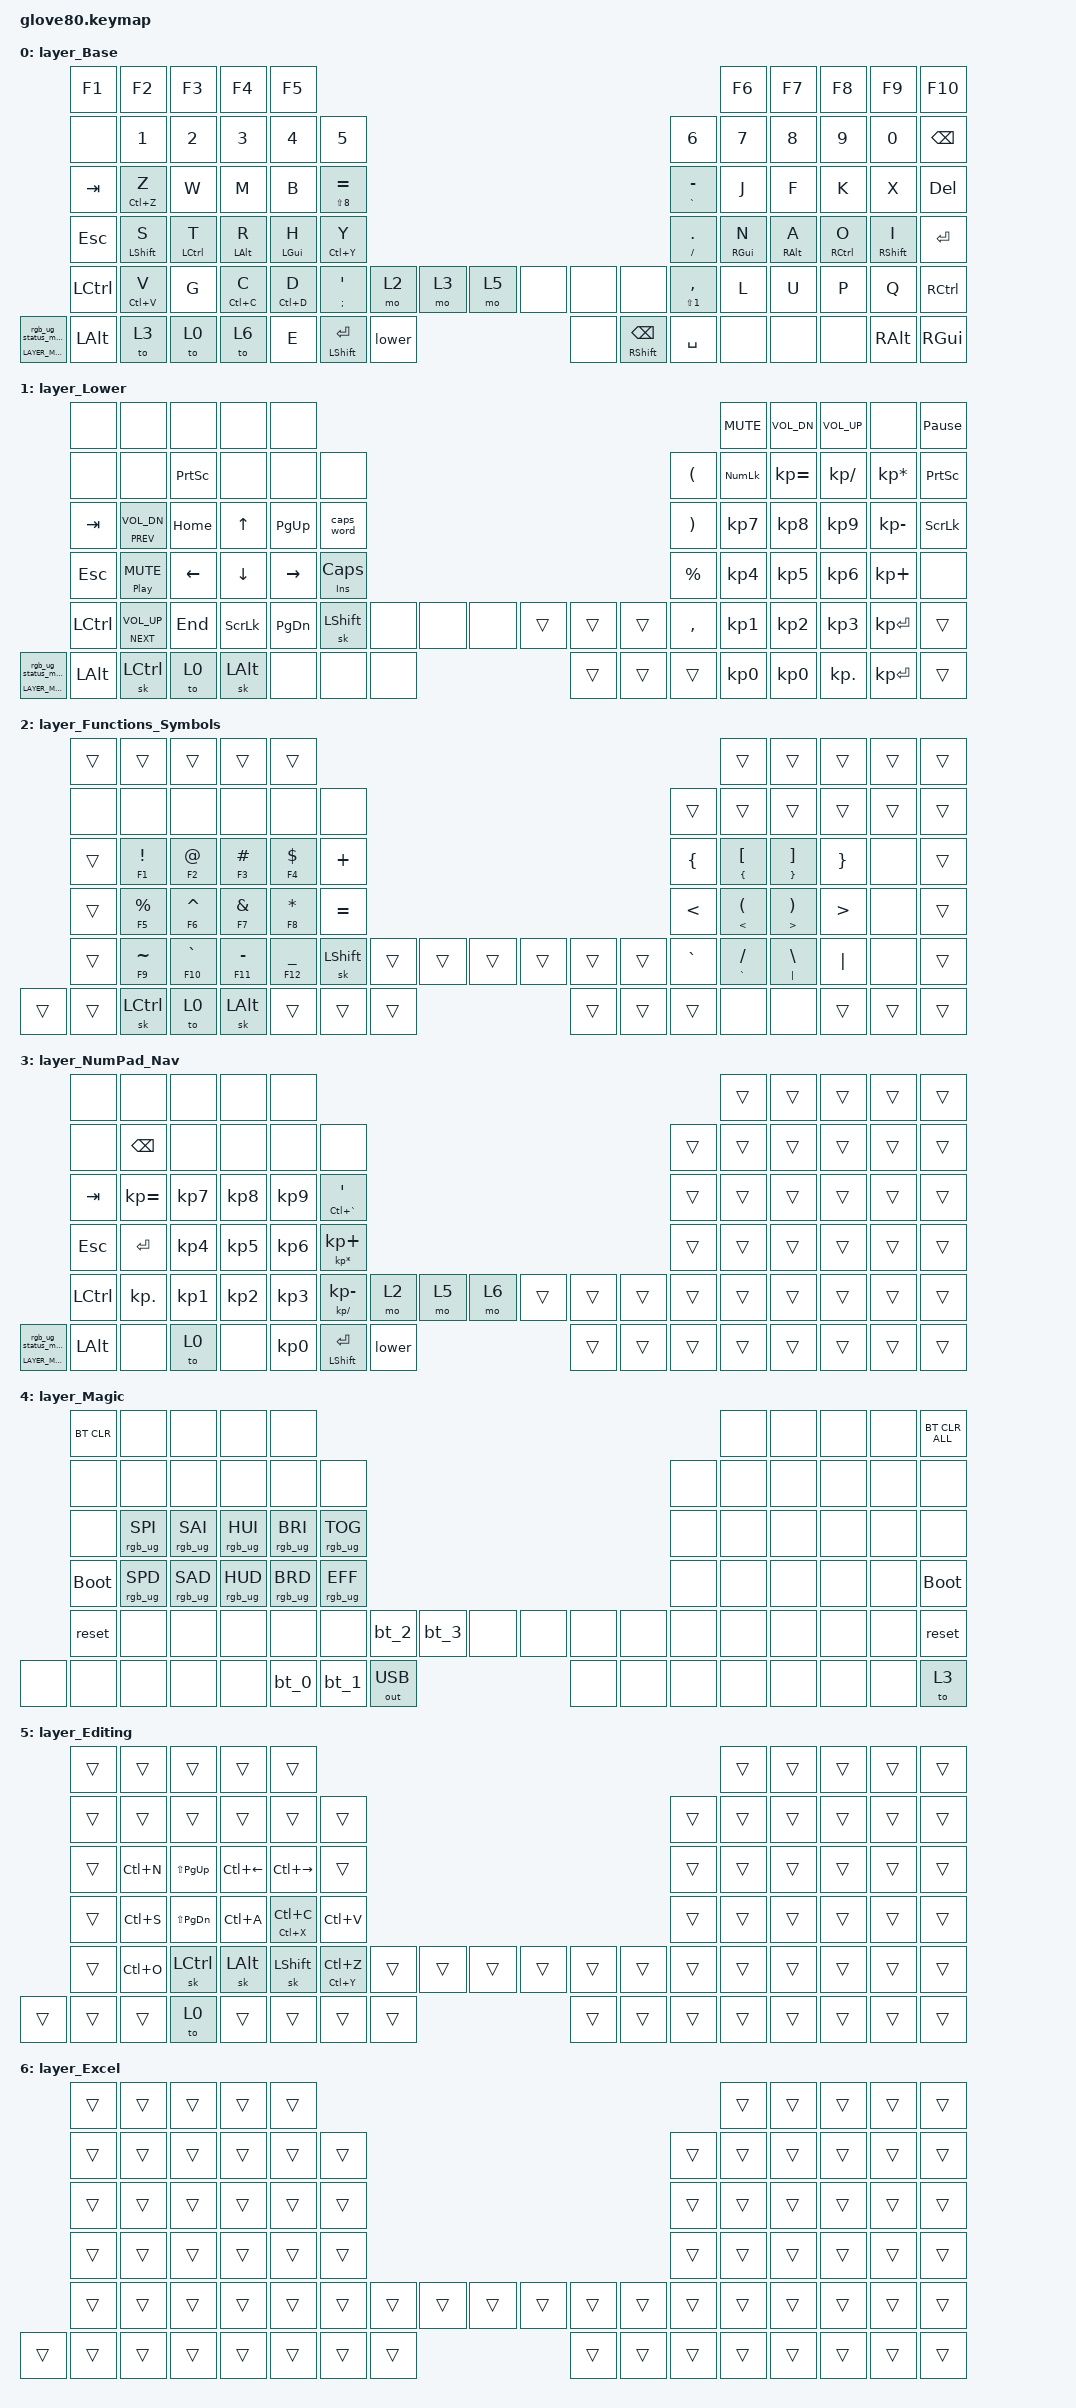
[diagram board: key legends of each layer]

/*
 * Copyright (c) 2020 The ZMK Contributors
 * Copyright (c) 2023 Innaworks Development Limited, trading as MoErgo
 *
 * SPDX-License-Identifier: MIT
 */


/* THIS FILE WAS GENERATED BY GLOVE80 LAYOUT EDITOR
 *
 * This file was generated automatically. You may or may not want to
 * edit it directly.
 */

#include <behaviors.dtsi>
/* Include all behaviour includes needed */
#include <dt-bindings/zmk/outputs.h>
#include <dt-bindings/zmk/keys.h>
#include <dt-bindings/zmk/bt.h>
#include <dt-bindings/zmk/rgb.h>

/* Automatically generated layer name #define */
#define LAYER_Base 0
#define LAYER_Lower 1
#define LAYER_Functions_Symbols 2
#define LAYER_NumPad_Nav 3
#define LAYER_Magic 4
#define LAYER_Editing 5
#define LAYER_Excel 6

/* To deal with the situation where there is no Lower layer, to keep &lower happy */
#ifndef LAYER_Lower
#define LAYER_Lower 0
#endif

/ {
    /* Glove80 system behavior & macros */
    behaviors {
        // For the "layer" key, it'd nice to be able to use it as either a shift or a toggle.
        // Configure it as a tap dance, so the first tap (or hold) is a &mo and the second tap is a &to
        lower: lower {
            compatible = "zmk,behavior-tap-dance";
            label = "LAYER_TAP_DANCE";
            #binding-cells = <0>;
            tapping-term-ms = <200>;
            bindings = <&mo LAYER_Lower>, <&to LAYER_Lower>;
        };
    };
};

/ {
    macros {
        rgb_ug_status_macro: rgb_ug_status_macro {
            label = "RGB_UG_STATUS";
            compatible = "zmk,behavior-macro";
            #binding-cells = <0>;
            bindings
                = <&rgb_ug RGB_STATUS>;
        };

        bt_0: bt_0 {
            label = "BT_0";
            compatible = "zmk,behavior-macro";
            #binding-cells = <0>;
            bindings
                = <&out OUT_BLE>,
                  <&bt BT_SEL 0>;
        };

        bt_1: bt_1 {
            label = "BT_1";
            compatible = "zmk,behavior-macro";
            #binding-cells = <0>;
            bindings
                = <&out OUT_BLE>,
                  <&bt BT_SEL 1>;
        };

        bt_2: bt_2 {
            label = "BT_2";
            compatible = "zmk,behavior-macro";
            #binding-cells = <0>;
            bindings
                = <&out OUT_BLE>,
                  <&bt BT_SEL 2>;
        };

        bt_3: bt_3 {
            label = "BT_3";
            compatible = "zmk,behavior-macro";
            #binding-cells = <0>;
            bindings
                = <&out OUT_BLE>,
                  <&bt BT_SEL 3>;
        };
    };
};

/ {
    magic: magic {
        compatible = "zmk,behavior-hold-tap";
        label = "MAGIC_HOLD_TAP";
        #binding-cells = <2>;
        flavor = "tap-preferred";
        tapping-term-ms = <200>;
        bindings = <&mo>, <&rgb_ug_status_macro>;
    };
};


    /* Custom Defined Behaviors */
/ {
    
};

    /* Automatically generated keymap */
/ {
    keymap {
        compatible = "zmk,keymap";


        layer_Base {
            bindings = <
               &kp F1       &kp F2       &kp F3       &kp F4       &kp F5                                                                                                            &kp F6      &kp F7       &kp F8       &kp F9    &kp F10
                &none       &kp N1       &kp N2       &kp N3       &kp N4            &kp N5                                                                              &kp N6      &kp N7      &kp N8       &kp N9       &kp N0   &kp BSPC
              &kp TAB  &mt LC(Z) Z        &kp W        &kp M        &kp B  &mt LS(N8) EQUAL                                                                     &mt GRAVE MINUS       &kp J       &kp F        &kp K        &kp X    &kp DEL
              &kp ESC  &mt LSHFT S  &mt LCTRL T   &mt LALT R   &mt LGUI H       &mt LC(Y) Y                                                                        &mt FSLH DOT  &mt RGUI N  &mt RALT A  &mt RCTRL O  &mt RSHFT I    &kp RET
            &kp LCTRL  &mt LC(V) V        &kp G  &mt LC(C) C  &mt LC(D) D      &mt SEMI SQT   &mo 2          &mo 3   &mo 5   &none           &none      &none  &mt LS(N1) COMMA       &kp L       &kp U        &kp P        &kp Q  &kp RCTRL
 &magic LAYER_Magic 0     &kp LALT        &to 3        &to 0        &to 6                     &kp E  &mt LSHFT RET  &lower   &none  &mt RSHFT BSPC  &kp SPACE                         &none       &none        &none     &kp RALT   &kp RGUI
            >;
        };

        layer_Lower {
            bindings = <
                &none                &none           &none           &none            &none                                                                                       &kp C_MUTE  &kp C_VOL_DN  &kp C_VOL_UP            &none  &kp PAUSE_BREAK
                &none                &none       &kp PSCRN           &none            &none         &none                                                   &kp LEFT_PARENTHESIS  &kp KP_NUM  &kp KP_EQUAL  &kp KP_SLASH  &kp KP_MULTIPLY  &kp PRINTSCREEN
              &kp TAB  &mt C_PREV C_VOL_DN        &kp HOME    &kp UP_ARROW        &kp PG_UP    &caps_word                                                  &kp RIGHT_PARENTHESIS   &kp KP_N7     &kp KP_N8     &kp KP_N9     &kp KP_MINUS   &kp SCROLLLOCK
              &kp ESC      &mt C_PP C_MUTE  &kp LEFT_ARROW  &kp DOWN_ARROW  &kp RIGHT_ARROW  &mt INS CAPS                                                            &kp PERCENT   &kp KP_N4     &kp KP_N5     &kp KP_N6      &kp KP_PLUS            &none
            &kp LCTRL  &mt C_NEXT C_VOL_UP         &kp END        &kp SLCK        &kp PG_DN     &sk LSHFT   &none   &none   &none  &trans  &trans  &trans              &kp COMMA   &kp KP_N1     &kp KP_N2     &kp KP_N3     &kp KP_ENTER           &trans
 &magic LAYER_Magic 0             &kp LALT       &sk LCTRL           &to 0         &sk LALT                 &none   &none   &none  &trans  &trans  &trans                          &kp KP_N0     &kp KP_N0    &kp KP_DOT     &kp KP_ENTER           &trans
            >;
        };

        layer_Functions_Symbols {
            bindings = <
 &trans        &trans         &trans         &trans         &trans                                                                                &trans         &trans    &trans  &trans  &trans
  &none         &none          &none          &none          &none      &none                                                     &trans          &trans         &trans    &trans  &trans  &trans
 &trans   &mt F1 EXCL      &mt F2 AT    &mt F3 HASH    &mt F4 DLLR   &kp PLUS                                                   &kp LBRC   &mt LBRC LBKT  &mt RBRC RBKT  &kp RBRC   &none  &trans
 &trans  &mt F5 PRCNT   &mt F6 CARET    &mt F7 AMPS    &mt F8 STAR  &kp EQUAL                                                     &kp LT     &mt LT LPAR    &mt GT RPAR    &kp GT   &none  &trans
 &trans  &mt F9 TILDE  &mt F10 GRAVE  &mt F11 MINUS  &mt F12 UNDER  &sk LSHFT  &trans  &trans  &trans  &trans  &trans  &trans  &kp GRAVE  &mt GRAVE FSLH  &mt PIPE BSLH  &kp PIPE   &none  &trans
 &trans        &trans      &sk LCTRL          &to 0       &sk LALT             &trans  &trans  &trans  &trans  &trans  &trans                      &none          &none    &trans  &trans  &trans
            >;
        };

        layer_NumPad_Nav {
            bindings = <
                &none         &none      &none      &none      &none                                                                                             &trans  &trans  &trans  &trans  &trans
                &none      &kp BSPC      &none      &none      &none                    &none                                                            &trans  &trans  &trans  &trans  &trans  &trans
              &kp TAB  &kp KP_EQUAL  &kp KP_N7  &kp KP_N8  &kp KP_N9        &mt LC(GRAVE) SQT                                                            &trans  &trans  &trans  &trans  &trans  &trans
              &kp ESC       &kp RET  &kp KP_N4  &kp KP_N5  &kp KP_N6  &mt KP_MULTIPLY KP_PLUS                                                            &trans  &trans  &trans  &trans  &trans  &trans
            &kp LCTRL    &kp KP_DOT  &kp KP_N1  &kp KP_N2  &kp KP_N3    &mt KP_SLASH KP_MINUS      &mo 2          &mo 5   &mo 6  &trans  &trans  &trans  &trans  &trans  &trans  &trans  &trans  &trans
 &magic LAYER_Magic 0      &kp LALT      &none      &to 0      &none                           &kp KP_N0  &mt LSHFT RET  &lower  &trans  &trans  &trans          &trans  &trans  &trans  &trans  &trans
            >;
        };

        layer_Magic {
            bindings = <
  &bt BT_CLR            &none            &none            &none            &none                                                                                  &none   &none   &none   &none  &bt BT_CLR_ALL
       &none            &none            &none            &none            &none            &none                                                         &none   &none   &none   &none   &none           &none
       &none  &rgb_ug RGB_SPI  &rgb_ug RGB_SAI  &rgb_ug RGB_HUI  &rgb_ug RGB_BRI  &rgb_ug RGB_TOG                                                         &none   &none   &none   &none   &none           &none
 &bootloader  &rgb_ug RGB_SPD  &rgb_ug RGB_SAD  &rgb_ug RGB_HUD  &rgb_ug RGB_BRD  &rgb_ug RGB_EFF                                                         &none   &none   &none   &none   &none     &bootloader
      &reset            &none            &none            &none            &none            &none   &bt_2   &bt_3         &none   &none   &none   &none   &none   &none   &none   &none   &none          &reset
       &none            &none            &none            &none            &none                    &bt_0   &bt_1  &out OUT_USB   &none   &none   &none           &none   &none   &none   &none           &to 3
            >;
        };

        layer_Editing {
            bindings = <
 &trans     &trans         &trans        &trans           &trans                                                                           &trans  &trans  &trans  &trans  &trans
 &trans     &trans         &trans        &trans           &trans           &trans                                                  &trans  &trans  &trans  &trans  &trans  &trans
 &trans  &kp LC(N)  &kp LS(PG_UP)  &kp LC(LEFT)    &kp LC(RIGHT)           &trans                                                  &trans  &trans  &trans  &trans  &trans  &trans
 &trans  &kp LC(S)  &kp LS(PG_DN)     &kp LC(A)  &mt LC(X) LC(C)        &kp LC(V)                                                  &trans  &trans  &trans  &trans  &trans  &trans
 &trans  &kp LC(O)      &sk LCTRL      &sk LALT        &sk LSHFT  &mt LC(Y) LC(Z)  &trans  &trans  &trans  &trans  &trans  &trans  &trans  &trans  &trans  &trans  &trans  &trans
 &trans     &trans         &trans         &to 0           &trans                   &trans  &trans  &trans  &trans  &trans  &trans          &trans  &trans  &trans  &trans  &trans
            >;
        };

        layer_Excel {
            bindings = <
 &trans  &trans  &trans  &trans  &trans                                                                  &trans  &trans  &trans  &trans  &trans
 &trans  &trans  &trans  &trans  &trans  &trans                                                  &trans  &trans  &trans  &trans  &trans  &trans
 &trans  &trans  &trans  &trans  &trans  &trans                                                  &trans  &trans  &trans  &trans  &trans  &trans
 &trans  &trans  &trans  &trans  &trans  &trans                                                  &trans  &trans  &trans  &trans  &trans  &trans
 &trans  &trans  &trans  &trans  &trans  &trans  &trans  &trans  &trans  &trans  &trans  &trans  &trans  &trans  &trans  &trans  &trans  &trans
 &trans  &trans  &trans  &trans  &trans          &trans  &trans  &trans  &trans  &trans  &trans          &trans  &trans  &trans  &trans  &trans
            >;
        };

    };
};
